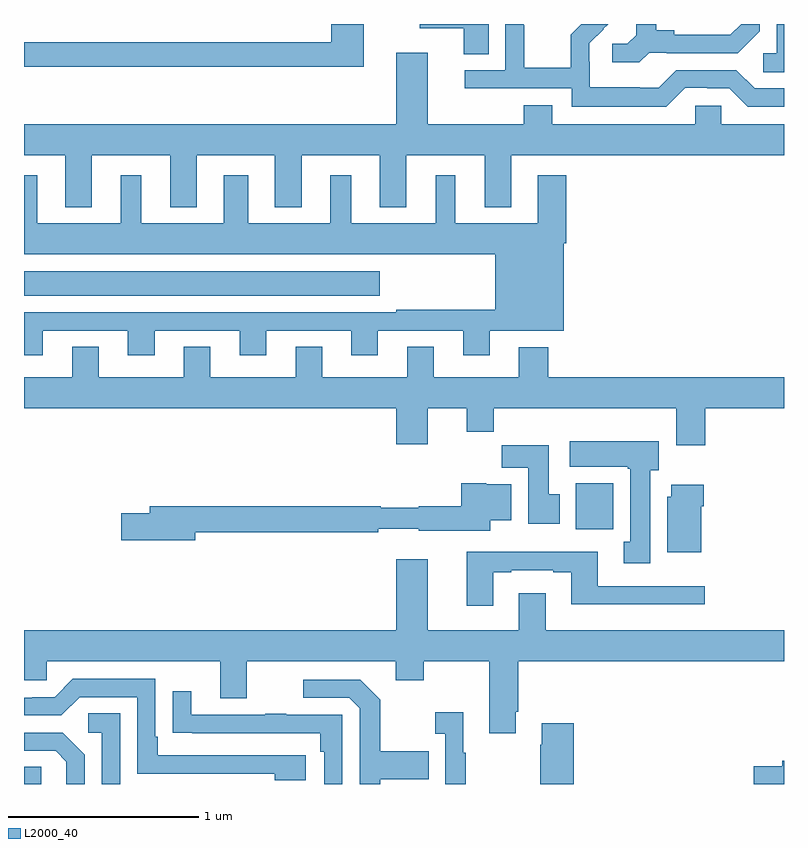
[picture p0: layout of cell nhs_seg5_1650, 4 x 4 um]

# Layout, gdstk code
import gdstk
lib = gdstk.Library(unit=1e-6, precision=1e-09)
def R(c, l, rs):  # rectangles x0, y0, x1, y1
    for r in rs: c.add(gdstk.rectangle(r[:2], r[2:], *l))
def P(c, l, *ps):  # polygons
    for p in ps: c.add(gdstk.Polygon(p, *l))
L2000_40 = (2000, 40)

nhs_seg5_1650 = lib.new_cell('nhs_seg5_1650')
R(nhs_seg5_1650, L2000_40, [(211,838.799,211.092,838.889), (213.905,840.14,214.102,840.382), (211,841.37,212.872,841.498)])
P(nhs_seg5_1650, L2000_40, [(212.788,842.799),(212.618,842.799),(212.618,842.702),(211,842.702),(211,842.574),(212.788,842.574)],
  [(214.479,842.463),(214.595,842.463),(214.595,842.46),(214.713,842.46),(214.809,842.364),(215,842.364),(215,842.46),(214.845,842.46),(214.749,842.556),(214.434,842.556),(214.341,842.463),(214.241,842.463),(214.241,842.467),(213.978,842.467),(213.978,842.601),(213.976,842.601),(213.976,842.698),(214.05,842.772),(214.049,842.773),(214.075,842.799),(213.933,842.799),(213.877,842.743),(213.877,842.569),(213.633,842.569),(213.633,842.792),(213.63,842.792),(213.63,842.799),(213.534,842.799),(213.534,842.556),(213.321,842.556),(213.321,842.46),(213.882,842.46),(213.882,842.363),(214.379,842.363)],
  [(214.29,842.649),(214.384,842.649),(214.384,842.646),(214.756,842.646),(214.872,842.762),(214.872,842.799),(214.775,842.799),(214.718,842.742),(214.423,842.742),(214.423,842.765),(214.327,842.765),(214.327,842.799),(214.223,842.799),(214.223,842.741),(214.176,842.694),(214.095,842.694),(214.095,842.597),(214.238,842.597)],
  [(215,842.799),(214.962,842.799),(214.962,842.646),(214.89,842.646),(214.89,842.545),(215,842.545)],
  [(213.445,842.799),(213.084,842.799),(213.084,842.777),(213.314,842.777),(213.314,842.641),(213.445,842.641)],
  [(211.357,842.108),(211.769,842.108),(211.769,841.835),(211.909,841.835),(211.909,842.108),(212.321,842.108),(212.321,841.835),(212.461,841.835),(212.461,842.108),(212.873,842.108),(212.873,841.835),(213.013,841.835),(213.013,842.108),(213.425,842.108),(213.425,841.835),(213.565,841.835),(213.565,842.108),(215,842.108),(215,842.272),(214.671,842.272),(214.671,842.37),(214.533,842.37),(214.533,842.272),(213.781,842.272),(213.781,842.371),(213.629,842.371),(213.629,842.272),(213.124,842.272),(213.124,842.647),(212.96,842.647),(212.96,842.272),(211,842.272),(211,842.108),(211.217,842.108),(211.217,841.835),(211.357,841.835)],
  [(211.099,841.185),(211.547,841.185),(211.547,841.056),(211.687,841.056),(211.687,841.185),(212.135,841.185),(212.135,841.056),(212.275,841.056),(212.275,841.185),(212.723,841.185),(212.723,841.056),(212.863,841.056),(212.863,841.185),(213.311,841.185),(213.311,841.056),(213.451,841.056),(213.451,841.184),(213.841,841.184),(213.841,841.646),(213.854,841.646),(213.854,842.002),(213.704,842.002),(213.704,841.75),(213.271,841.75),(213.271,842.002),(213.167,842.002),(213.167,841.75),(212.722,841.75),(212.722,842.002),(212.612,842.002),(212.612,841.75),(212.179,841.75),(212.179,842.002),(212.051,842.002),(212.051,841.75),(211.618,841.75),(211.618,842.002),(211.508,842.002),(211.508,841.75),(211.069,841.75),(211.069,842.002),(211,842.002),(211,841.586),(213.479,841.586),(213.479,841.294),(212.959,841.294),(212.959,841.281),(211,841.281),(211,841.056),(211.099,841.056)],
  [(214.586,840.776),(215,840.776),(215,840.94),(213.758,840.94),(213.758,841.099),(213.605,841.099),(213.605,840.94),(213.157,840.94),(213.157,841.1),(213.017,841.1),(213.017,840.94),(212.569,840.94),(212.569,841.1),(212.429,841.1),(212.429,840.94),(211.981,840.94),(211.981,841.1),(211.841,841.1),(211.841,840.94),(211.393,840.94),(211.393,841.1),(211.253,841.1),(211.253,840.94),(211,840.94),(211,840.776),(212.96,840.776),(212.96,840.588),(213.124,840.588),(213.124,840.776),(213.329,840.776),(213.329,840.652),(213.473,840.652),(213.473,840.776),(214.433,840.776),(214.433,840.582),(214.586,840.582)],
  [(214.297,840.45),(214.342,840.45),(214.342,840.604),(213.873,840.604),(213.873,840.47),(214.177,840.47),(214.177,840.457),(214.19,840.457),(214.19,840.074),(214.157,840.074),(214.157,839.961),(214.297,839.961)],
  [(213.82,840.324),(213.763,840.324),(213.763,840.583),(213.514,840.583),(213.514,840.464),(213.653,840.464),(213.653,840.168),(213.82,840.168)],
  [(211.9,840.124),(212.864,840.124),(212.864,840.143),(213.078,840.143),(213.078,840.131),(213.454,840.131),(213.454,840.188),(213.565,840.188),(213.565,840.376),(213.432,840.376),(213.432,840.382),(213.302,840.382),(213.302,840.261),(213.078,840.261),(213.078,840.253),(212.878,840.253),(212.878,840.26),(211.661,840.26),(211.661,840.224),(211.512,840.224),(211.512,840.082),(211.9,840.082)],
  [(214.564,840.26),(214.577,840.26),(214.577,840.373),(214.406,840.373),(214.406,840.312),(214.385,840.312),(214.385,840.02),(214.564,840.02)],
  [(213.469,839.913),(213.565,839.913),(213.565,839.925),(213.785,839.925),(213.785,839.913),(213.881,839.913),(213.881,839.744),(214.582,839.744),(214.582,839.841),(214.021,839.841),(214.021,840.022),(213.329,840.022),(213.329,839.736),(213.469,839.736)],
  [(213.589,839.179),(213.602,839.179),(213.602,839.444),(215,839.444),(215,839.608),(213.745,839.608),(213.745,839.803),(213.605,839.803),(213.605,839.608),(213.124,839.608),(213.124,839.983),(212.96,839.983),(212.96,839.608),(211,839.608),(211,839.346),(211.119,839.346),(211.119,839.444),(212.033,839.444),(212.033,839.25),(212.173,839.25),(212.173,839.444),(212.957,839.444),(212.957,839.345),(213.105,839.345),(213.105,839.444),(213.449,839.444),(213.449,839.067),(213.589,839.067)],
  [(212.482,838.95),(211.705,838.95),(211.705,839.047),(211.692,839.047),(211.692,839.352),(211.257,839.352),(211.161,839.256),(211.043,839.256),(211.043,839.253),(211,839.253),(211,839.16),(211.197,839.16),(211.293,839.256),(211.596,839.256),(211.596,838.854),(212.321,838.854),(212.321,838.82),(212.482,838.82)],
  [(212.875,838.823),(213.131,838.823),(213.131,838.971),(212.875,838.971),(212.875,839.243),(212.769,839.349),(212.469,839.349),(212.469,839.253),(212.712,839.253),(212.766,839.199),(212.766,838.799),(212.875,838.799)],
  [(212.676,839.163),(212.381,839.163),(212.381,839.168),(212.269,839.168),(212.269,839.163),(211.879,839.163),(211.879,839.287),(211.783,839.287),(211.783,839.068),(211.885,839.068),(211.885,839.067),(212.56,839.067),(212.56,838.97),(212.58,838.97),(212.58,838.799),(212.676,838.799)],
  [(213.325,838.963),(213.313,838.963),(213.313,839.176),(213.165,839.176),(213.165,839.063),(213.216,839.063),(213.216,838.799),(213.325,838.799)],
  [(211.506,839.171),(211.338,839.171),(211.338,839.07),(211.41,839.07),(211.41,838.799),(211.506,838.799)],
  [(213.893,839.119),(213.725,839.119),(213.725,839.006),(213.718,839.006),(213.718,838.799),(213.893,838.799)],
  [(211.32,838.954),(211.204,839.07),(211,839.07),(211,838.974),(211.166,838.974),(211.223,838.917),(211.223,838.799),(211.32,838.799)],
  [(215,838.922),(214.991,838.922),(214.991,838.892),(214.842,838.892),(214.842,838.799),(215,838.799)])

lib.write_gds('nhs_seg5_1650.gds')
